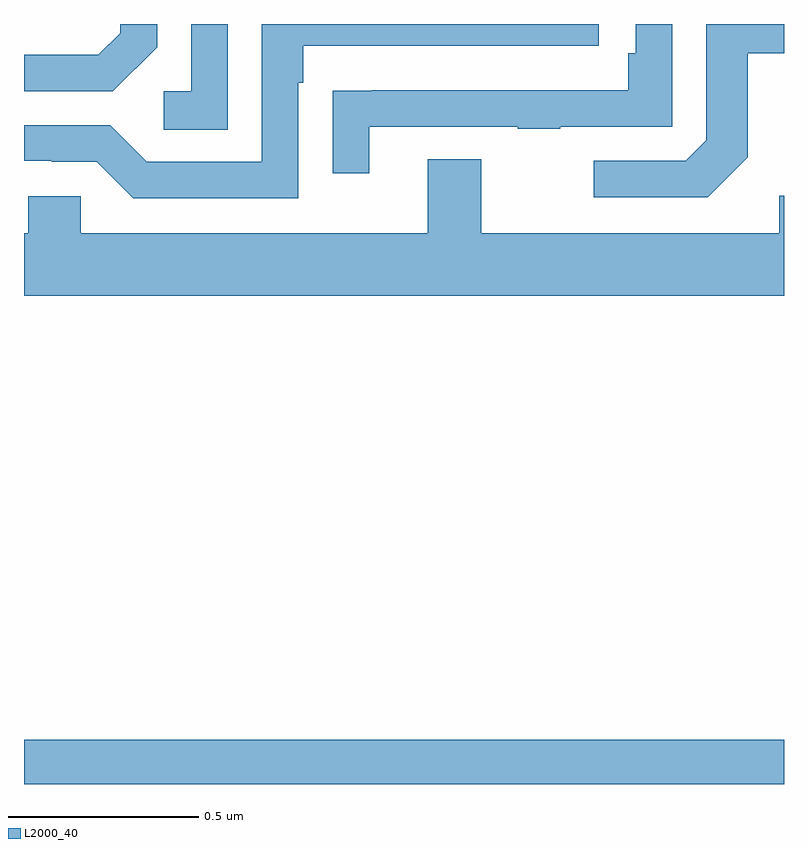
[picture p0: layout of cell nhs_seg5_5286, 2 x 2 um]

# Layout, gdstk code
import gdstk
lib = gdstk.Library(unit=1e-6, precision=1e-09)
def R(c, l, rs):  # rectangles x0, y0, x1, y1
    for r in rs: c.add(gdstk.rectangle(r[:2], r[2:], *l))
def P(c, l, *ps):  # polygons
    for p in ps: c.add(gdstk.Polygon(p, *l))
L2000_40 = (2000, 40)

nhs_seg5_5286 = lib.new_cell('nhs_seg5_5286')
R(nhs_seg5_5286, L2000_40, [(181,864.799,183,864.916)])
P(nhs_seg5_5286, L2000_40, [(181.35,866.738),(181.35,866.799),(181.253,866.799),(181.253,866.775),(181.196,866.718),(181,866.718),(181,866.622),(181.234,866.622)],
  [(181.536,866.799),(181.44,866.799),(181.44,866.622),(181.368,866.622),(181.368,866.521),(181.536,866.521)],
  [(182.905,866.449),(182.905,866.722),(183,866.722),(183,866.799),(182.796,866.799),(182.796,866.493),(182.742,866.439),(182.499,866.439),(182.499,866.343),(182.799,866.343)],
  [(181.909,866.529),(182.299,866.529),(182.299,866.524),(182.411,866.524),(182.411,866.529),(182.706,866.529),(182.706,866.799),(182.61,866.799),(182.61,866.722),(182.59,866.722),(182.59,866.625),(181.915,866.625),(181.915,866.624),(181.813,866.624),(181.813,866.406),(181.909,866.406)],
  [(181.722,866.645),(181.735,866.645),(181.735,866.742),(182.512,866.742),(182.512,866.799),(181.626,866.799),(181.626,866.436),(181.323,866.436),(181.227,866.532),(181,866.532),(181,866.439),(181.073,866.439),(181.073,866.436),(181.191,866.436),(181.287,866.34),(181.722,866.34)],
  [(183,866.347),(182.987,866.347),(182.987,866.248),(182.203,866.248),(182.203,866.443),(182.063,866.443),(182.063,866.248),(181.149,866.248),(181.149,866.346),(181.011,866.346),(181.011,866.248),(181,866.248),(181,866.084),(183,866.084)])

lib.write_gds('nhs_seg5_5286.gds')
